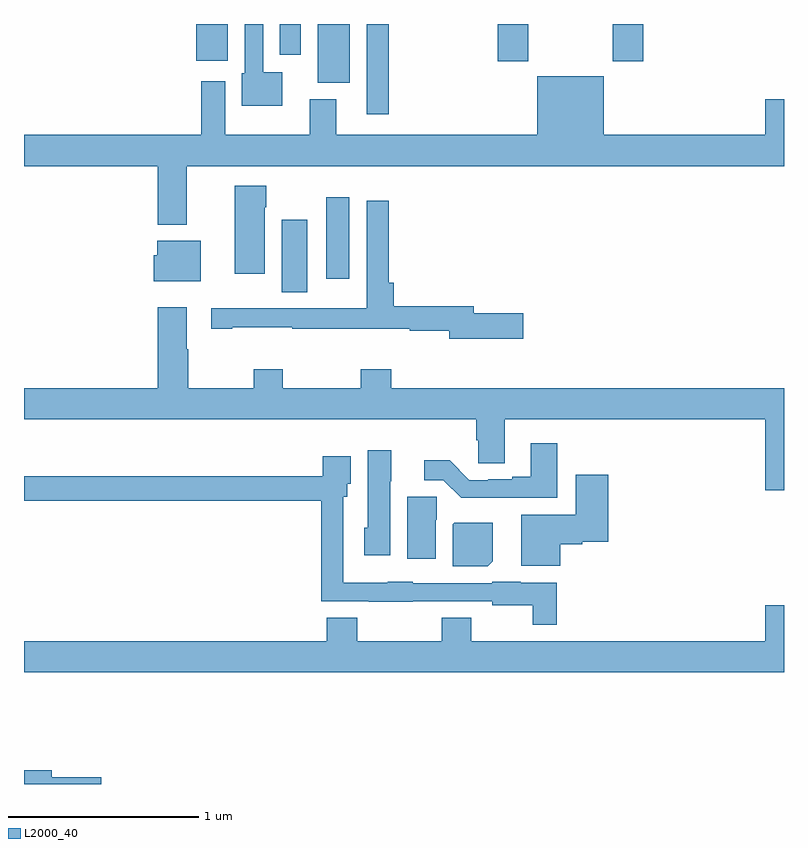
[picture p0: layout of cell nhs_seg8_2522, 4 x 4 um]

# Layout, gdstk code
import gdstk
lib = gdstk.Library(unit=1e-6, precision=1e-09)
def R(c, l, rs):  # rectangles x0, y0, x1, y1
    for r in rs: c.add(gdstk.rectangle(r[:2], r[2:], *l))
def P(c, l, *ps):  # polygons
    for p in ps: c.add(gdstk.Polygon(p, *l))
L2000_40 = (2000, 40)

nhs_seg8_2522 = lib.new_cell('nhs_seg8_2522')
R(nhs_seg8_2522, L2000_40, [(270.356,1130.488,270.49,1130.869), (270.59,1130.559,270.712,1130.989), (270.804,1131.426,270.92,1131.9), (270.545,1131.59,270.715,1131.9), (271.493,1131.705,271.653,1131.9), (272.098,1131.705,272.258,1131.9), (269.906,1131.707,270.073,1131.9), (270.347,1131.738,270.457,1131.9)])
P(nhs_seg8_2522, L2000_40, [(270.358,1131.646),(270.258,1131.646),(270.258,1131.9),(270.162,1131.9),(270.162,1131.642),(270.146,1131.642),(270.146,1131.47),(270.358,1131.47)],
  [(269.857,1131.152),(273,1131.152),(273,1131.505),(272.9,1131.505),(272.9,1131.316),(272.05,1131.316),(272.05,1131.625),(271.7,1131.625),(271.7,1131.316),(270.643,1131.316),(270.643,1131.505),(270.503,1131.505),(270.503,1131.316),(270.058,1131.316),(270.058,1131.598),(269.933,1131.598),(269.933,1131.316),(269,1131.316),(269,1131.152),(269.705,1131.152),(269.705,1130.843),(269.857,1130.843)],
  [(270.268,1130.936),(270.276,1130.936),(270.276,1131.049),(270.11,1131.049),(270.11,1130.586),(270.268,1130.586)],
  [(271.627,1130.378),(271.366,1130.378),(271.366,1130.414),(270.947,1130.414),(270.947,1130.539),(270.92,1130.539),(270.92,1130.971),(270.804,1130.971),(270.804,1130.404),(270.594,1130.404),(270.594,1130.403),(270.26,1130.403),(270.26,1130.405),(269.985,1130.405),(269.985,1130.295),(270.097,1130.295),(270.097,1130.305),(270.413,1130.305),(270.413,1130.295),(270.828,1130.295),(270.828,1130.297),(271.03,1130.297),(271.03,1130.286),(271.238,1130.286),(271.238,1130.243),(271.627,1130.243)],
  [(269.929,1130.758),(269.702,1130.758),(269.702,1130.682),(269.684,1130.682),(269.684,1130.546),(269.929,1130.546)],
  [(273,1129.984),(270.932,1129.984),(270.932,1130.083),(270.772,1130.083),(270.772,1129.984),(270.363,1129.984),(270.363,1130.083),(270.208,1130.083),(270.208,1129.984),(269.865,1129.984),(269.865,1130.189),(269.857,1130.189),(269.857,1130.41),(269.705,1130.41),(269.705,1129.984),(269,1129.984),(269,1129.82),(271.379,1129.82),(271.379,1129.71),(271.392,1129.71),(271.392,1129.588),(271.531,1129.588),(271.531,1129.82),(272.9,1129.82),(272.9,1129.446),(273,1129.446)],
  [(271.807,1129.693),(271.667,1129.693),(271.667,1129.516),(271.571,1129.516),(271.571,1129.503),(271.444,1129.503),(271.444,1129.5),(271.344,1129.5),(271.242,1129.603),(271.107,1129.603),(271.107,1129.5),(271.206,1129.5),(271.301,1129.406),(271.807,1129.406)],
  [(270.928,1129.494),(270.934,1129.494),(270.934,1129.657),(270.809,1129.657),(270.809,1129.248),(270.791,1129.248),(270.791,1129.104),(270.928,1129.104)],
  [(271.805,1128.958),(271.614,1128.958),(271.614,1128.964),(271.464,1128.964),(271.464,1128.957),(271.047,1128.957),(271.047,1128.964),(270.915,1128.964),(270.915,1128.958),(270.681,1128.958),(270.681,1129.413),(270.7,1129.413),(270.7,1129.479),(270.721,1129.479),(270.721,1129.624),(270.572,1129.624),(270.572,1129.519),(269,1129.519),(269,1129.39),(270.565,1129.39),(270.565,1128.861),(270.815,1128.861),(270.815,1128.86),(271.047,1128.86),(271.047,1128.861),(271.464,1128.861),(271.464,1128.842),(271.677,1128.842),(271.677,1128.737),(271.805,1128.737)],
  [(271.822,1129.163),(271.938,1129.163),(271.938,1129.175),(272.075,1129.175),(272.075,1129.528),(271.904,1129.528),(271.904,1129.318),(271.616,1129.318),(271.616,1129.049),(271.822,1129.049)],
  [(271.168,1129.29),(271.172,1129.29),(271.172,1129.413),(271.016,1129.413),(271.016,1129.086),(271.168,1129.086)],
  [(271.468,1129.072),(271.468,1129.276),(271.264,1129.276),(271.256,1129.268),(271.256,1129.046),(271.442,1129.046)],
  [(273,1128.841),(272.9,1128.841),(272.9,1128.652),(271.353,1128.652),(271.353,1128.776),(271.198,1128.776),(271.198,1128.652),(270.753,1128.652),(270.753,1128.776),(270.593,1128.776),(270.593,1128.652),(269,1128.652),(269,1128.488),(273,1128.488)],
  [(269.407,1127.936),(269.146,1127.936),(269.146,1127.972),(269,1127.972),(269,1127.9),(269.407,1127.9)])

lib.write_gds('nhs_seg8_2522.gds')
